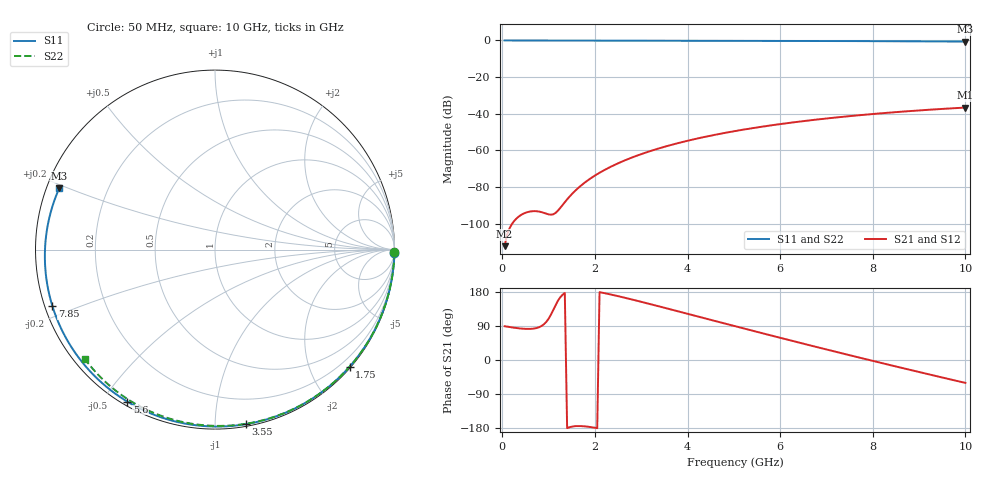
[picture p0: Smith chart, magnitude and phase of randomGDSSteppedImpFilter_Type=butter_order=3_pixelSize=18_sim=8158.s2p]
! freq	dB(S11)	phase(S11)	dB(S12)	phase(S12)
!  dB(S21)	phase(S21)	dB(S22)	phase(S22)
!S-par simulation data
#  GHz  S  DB  R 50
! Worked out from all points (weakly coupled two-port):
!   200 points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, 50 MHz to 10 GHz, reference 50 ohm
!   highest |S21| = -36.62 dB at 10 GHz (marker M1); lowest = -112.3 dB at 50 MHz (marker M2)
!   lowest |S11| = -0.6 dB at 10 GHz (marker M3), VSWR 28.77, Z = 1.8 + j9.5 ohm
!   |S11| at or under -10 dB: nowhere
!   |S22| runs from -0.5 to 0.0 dB; largest |S21 - S12| = 0
!   S11 on the Smith chart (normalised r, x): 50 MHz: 0, -95; 1.75 GHz: 0.02, -2.67; 3.55 GHz: 0.01, -1.19; 5.6 GHz: 0.01, -0.58; 7.85 GHz: 0.02, -0.17; 10 GHz: 0.04, +0.19
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0.05  -0.00 -1.2  -112.25 89.2  -112.25 89.2  -0.00 -0.8
0.4  -0.01 -9.5  -95.30 83.0  -95.30 83.0  -0.01 -6.5
0.8  -0.02 -19.0  -93.41 86.8  -93.41 86.8  -0.02 -12.9
1.2  -0.04 -28.4  -92.91 156.0  -92.91 156.0  -0.02 -19.3
1.65  -0.05 -38.8  -80.26 -174.3  -80.26 -174.3  -0.03 -26.4
1.75  -0.05 -41.0  -78.16 -174.8  -78.16 -174.8  -0.04 -27.9
2.05  -0.06 -47.8  -72.94 -179.8  -72.94 -179.8  -0.04 -32.6
2.45  -0.07 -56.7  -67.61 169.9  -67.61 169.9  -0.05 -38.8
2.9  -0.09 -66.4  -62.93 156.6  -62.93 156.6  -0.06 -45.6
3.4  -0.10 -76.9  -58.76 141.0  -58.76 141.0  -0.07 -53.1
3.55  -0.11 -80.0  -57.67 136.3  -57.67 136.3  -0.07 -55.3
4.3  -0.13 -95.1  -53.01 112.4  -53.01 112.4  -0.09 -66.2
5.05  -0.17 -109.7  -49.33 88.5  -49.33 88.5  -0.12 -76.8
5.6  -0.20 -120.0  -47.08 71.1  -47.08 71.1  -0.14 -84.3
6.15  -0.23 -130.1  -45.13 53.9  -45.13 53.9  -0.16 -91.6
6.7  -0.27 -140.1  -43.42 36.9  -43.42 36.9  -0.19 -98.8
7.3  -0.31 -150.9  -41.78 18.7  -41.78 18.7  -0.23 -106.5
7.85  -0.36 -160.8  -40.47 2.1  -40.47 2.1  -0.27 -113.4
8.35  -0.41 -170.0  -39.40 -12.7  -39.40 -12.7  -0.31 -119.7
8.8  -0.46 -178.3  -38.53 -25.9  -38.53 -25.9  -0.35 -125.2
9.2  -0.51 174.1  -37.83 -37.5  -37.83 -37.5  -0.38 -130.1
10  -0.60 158.5  -36.62 -60.5  -36.62 -60.5  -0.47 -139.8
